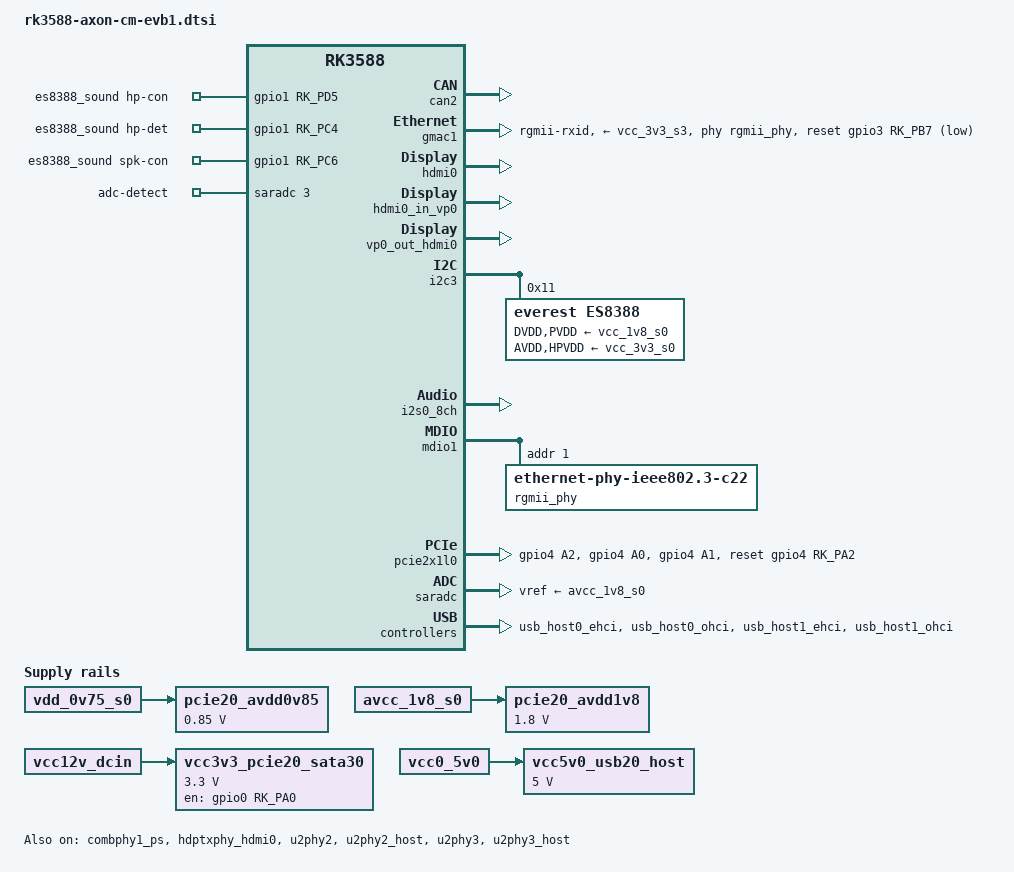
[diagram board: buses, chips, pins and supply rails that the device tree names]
// SPDX-License-Identifier: (GPL-2.0+ OR MIT)
/*
 * Copyright (C) 2026 Vicharak Computers Pvt. Ltd.

 Axon CM Evolution Board 1 (EVB1) Includes:
 - 1x HDMI Tx0
 - 1x USB 2.0
 - 1x PCIe 2.0 on B Key
 - 1x USB 3.0 on B Key
 - 1x Audio Jack ES8388
 - 2x Audio Speaker ( Left and Right )
 - 1x Ethernet RGMII
 - 1x MIPI DPHY DSI
 - 1x Controller area network (CAN)
 - 1x Button each for POWER, RESET and BOOT
 - 1x Sim Card Slot
 - 1x Battery Charging IC (BQ25792RQMR)
 - 1x 1.8v connector
 - 1x 3.3v connector
 - 1x 5v connector
 */

#include "rk3588-axon-cm.dtsi"
#include "rk3588-linux.dtsi"
#include <dt-bindings/input/rk-input.h>

/ {

	es8388_sound: es8388-sound {
		compatible = "rockchip,multicodecs-card";
		hp-con-gpio = <&gpio1 RK_PD5 GPIO_ACTIVE_HIGH>;
		hp-det-gpio = <&gpio1 RK_PC4 GPIO_ACTIVE_HIGH>;
		spk-con-gpio = <&gpio1 RK_PC6 GPIO_ACTIVE_HIGH>;
		io-channel-names = "adc-detect";
		io-channels = <&saradc 3>;
		keyup-threshold-microvolt = <1800000>;
		poll-interval = <100>;
		rockchip,audio-routing =
			"Headphone", "LOUT1",
			"Headphone", "ROUT1",
			"Speaker", "LOUT2",
			"Speaker", "ROUT2",
			"Headphone", "Headphone Power",
			"Headphone", "Headphone Power",
			"Speaker", "Speaker Power",
			"Speaker", "Speaker Power",
			"RINPUT1", "Headset Mic",
			"RINPUT2", "Headset Mic";
		rockchip,card-name = "rockchip-es8388";
		rockchip,codec = <&es8388>;
		rockchip,cpu = <&i2s0_8ch>;
		rockchip,format = "i2s";
		rockchip,mclk-fs = <256>;
		pinctrl-names = "default";
		pinctrl-0 = <&hp_det &amp_ctrl>;
		status = "okay";

		play-pause-key {
			label = "playpause";
			linux,code = <KEY_PLAYPAUSE>;
			press-threshold-microvolt = <2000>;
		};
	};

	pcie20_avdd0v85: pcie20-avdd0v85-regulator {
		compatible = "regulator-fixed";
		regulator-name = "pcie20_avdd0v85";
		regulator-boot-on;
		regulator-always-on;
		regulator-min-microvolt = <850000>;
		regulator-max-microvolt = <850000>;
		vin-supply = <&vdd_0v75_s0>;
	};

	pcie20_avdd1v8: pcie20-avdd1v8-regulator {
		compatible = "regulator-fixed";
		regulator-name = "pcie20_avdd1v8";
		regulator-boot-on;
		regulator-always-on;
		regulator-min-microvolt = <1800000>;
		regulator-max-microvolt = <1800000>;
		vin-supply = <&avcc_1v8_s0>;
	};

	vcc3v3_pcie20_sata30: vcc3v3-pcie20-sata30 {
		compatible = "regulator-fixed";
		regulator-name = "vcc3v3_pcie20_sata30";
		regulator-boot-on;
		regulator-always-on;
		enable-active-high;
		gpios = <&gpio0 RK_PA0 GPIO_ACTIVE_HIGH>;
		regulator-max-microvolt = <3300000>;
		regulator-min-microvolt = <3300000>;
		vin-supply = <&vcc12v_dcin>;
	};

	vcc5v0_usb20_host: vcc5v0-usb20-host-regulator {
		compatible = "regulator-fixed";
		regulator-name = "vcc5v0_usb20_host";
		regulator-boot-on;
		regulator-always-on;
		enable-active-high;
		regulator-min-microvolt = <5000000>;
		regulator-max-microvolt = <5000000>;
		vin-supply = <&vcc0_5v0>;
	};
};

&can2 {
	status = "okay";
};

&combphy1_ps {
	status = "okay";
};

&gmac1 {
    clock_in_out = "output";
    phy-handle = <&rgmii_phy>;
    phy-mode = "rgmii-rxid";
    phy-supply = <&vcc_3v3_s3>;
    pinctrl-0 = <&gmac1_rgmii_bus
                &gmac1_rgmii_clk
                &gmac1_rx_bus2
                &gmac1_tx_bus2
                &gmac1_miim>;
    pinctrl-names = "default";
    snps,reset-active-low;
    snps,reset-delays-us = <0 20000 100000>;
    snps,reset-gpio = <&gpio3 RK_PB7 GPIO_ACTIVE_LOW>;
    rx_delay = <0x00>;
    tx_delay = <0x43>;
    status = "okay";
};

&hdmi0 {
	enable-gpios = <&gpio1 RK_PB0 GPIO_ACTIVE_HIGH>;
	cec-enable;
	status = "okay";
};

&hdmi0_in_vp0 {
	status = "okay";
};

&hdptxphy_hdmi0 {
	status = "okay";
};

&vp0_out_hdmi0 {
	status = "okay";
};
&i2c3 {
	status = "okay";

	es8388: es8388@11 {
		#sound-dai-cells = <0>;
		compatible = "everest,es8388", "everest,es8323";
		reg = <0x11>;
		clocks = <&mclkout_i2s0>;
		clock-names = "mclk";
		assigned-clocks = <&mclkout_i2s0>;
		assigned-clock-rates = <12288000>;
		pinctrl-names = "default";
		pinctrl-0 = <&i2s0_mclk>;
		DVDD-supply = <&vcc_1v8_s0>;
		AVDD-supply = <&vcc_3v3_s0>;
		PVDD-supply = <&vcc_1v8_s0>;
		HPVDD-supply = <&vcc_3v3_s0>;
		status = "okay";
	};
};

&i2s0_8ch {
	pinctrl-0 = <&i2s0_lrck
				&i2s0_sclk
				&i2s0_sdi0
				&i2s0_sdo0>;

	status = "okay";
};

&mdio1 {
    rgmii_phy: phy@1 {
        compatible = "ethernet-phy-ieee802.3-c22";
        reg = <0x1>;
    };
};

&pcie2x1l0 {
	reset-gpios = <&gpio4 RK_PA2 GPIO_ACTIVE_HIGH>;
	pinctrl-names = "default";
	pinctrl-0 = <&pcie2_0_rst &pcie2_0_clkreq &pcie2_0_wake>;
	rockchip,skip-scan-in-resume;
	status = "okay";
};

&pinctrl {

	amplifier_ctrl {
		amp_ctrl: amp-ctrl {
			rockchip,pins =
				<4 RK_PD4 RK_FUNC_GPIO &pcfg_pull_down>;
		};
	};

	headphone {
		hp_det: hp-det {
			rockchip,pins =
				<1 RK_PC4 RK_FUNC_GPIO &pcfg_pull_none>;
		};
	};

	pcie2 {
		pcie2_0_rst: pcie2-0-rst {
			rockchip,pins =
				<4 RK_PA2 RK_FUNC_GPIO &pcfg_pull_none>;
		};

		pcie2_0_clkreq: pcie2-0-clkreq {
			rockchip,pins =
				<4 RK_PA0 4 &pcfg_pull_none>;
		};

		pcie2_0_wake: pcie2-0-wake {
			rockchip,pins =
				<4 RK_PA1 4 &pcfg_pull_none>;
		};
	};
};

&saradc {
	vref-supply = <&avcc_1v8_s0>;
	status = "okay";
};

&u2phy2 {
	status = "okay";
};

&u2phy2_host {
	phy-supply = <&vcc5v0_usb20_host>;
	status = "okay";
};

&u2phy3 {
	status = "okay";
};

&u2phy3_host {
	phy-supply = <&vcc5v0_usb20_host>;
	status = "okay";
};

&usb_host0_ehci {
	status = "okay";
};

&usb_host0_ohci {
	status = "okay";
};

&usb_host1_ehci {
	status = "okay";
};

&usb_host1_ohci {
	status = "okay";
};
